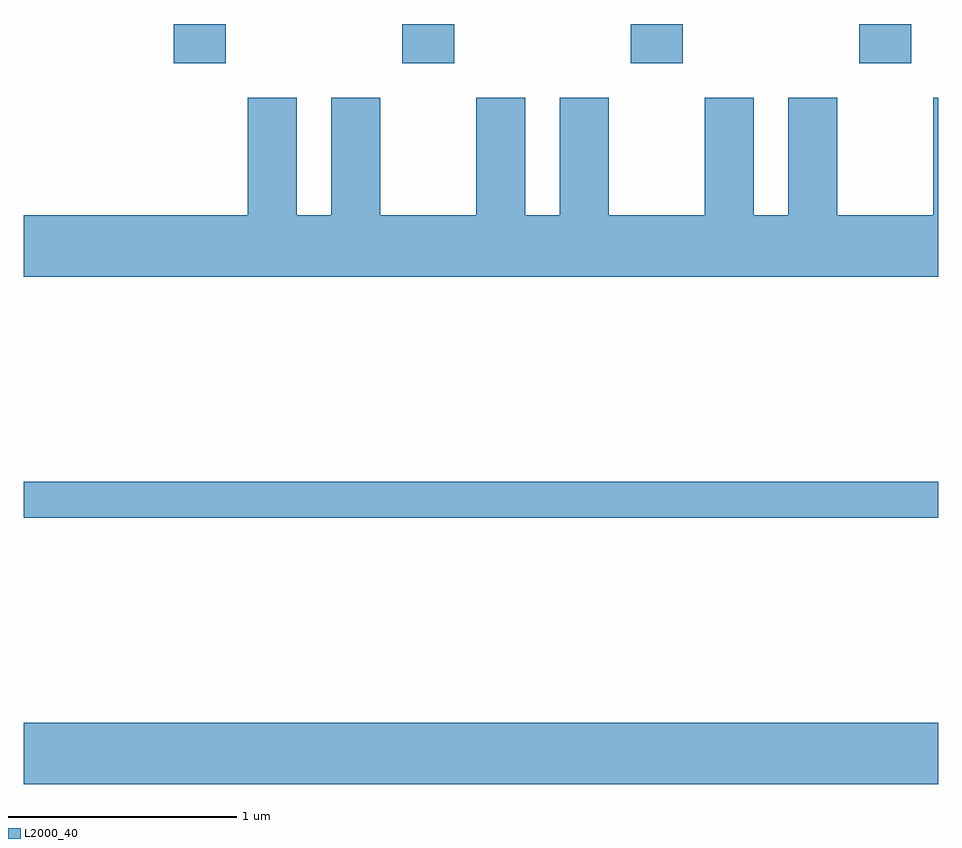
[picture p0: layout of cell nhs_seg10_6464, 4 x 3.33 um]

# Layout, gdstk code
import gdstk
lib = gdstk.Library(unit=1e-6, precision=1e-09)
def R(c, l, rs):  # rectangles x0, y0, x1, y1
    for r in rs: c.add(gdstk.rectangle(r[:2], r[2:], *l))
def A(c, l, x, y, w, h, nx, ny, dx, dy):  # array of equal rectangles
    R(c, l, [(x+i*dx, y+j*dy, x+i*dx+w, y+j*dy+h) for i in range(nx) for j in range(ny)])
def P(c, l, *ps):  # polygons
    for p in ps: c.add(gdstk.Polygon(p, *l))
L2000_40 = (2000, 40)

nhs_seg10_6464 = lib.new_cell('nhs_seg10_6464')
A(nhs_seg10_6464, L2000_40, 376.266, 2170.351, 0.228, 0.171, 4, 1, 1, 0)
R(nhs_seg10_6464, L2000_40, [(375.611,2167.196,379.611,2167.464), (375.611,2168.361,379.611,2168.519)])
P(nhs_seg10_6464, L2000_40, [(379.611,2170.199),(379.591,2170.199),(379.591,2169.684),(379.169,2169.684),(379.169,2170.199),(378.956,2170.199),(378.956,2169.684),(378.804,2169.684),(378.804,2170.199),(378.591,2170.199),(378.591,2169.684),(378.169,2169.684),(378.169,2170.199),(377.956,2170.199),(377.956,2169.684),(377.804,2169.684),(377.804,2170.199),(377.591,2170.199),(377.591,2169.684),(377.169,2169.684),(377.169,2170.199),(376.956,2170.199),(376.956,2169.684),(376.804,2169.684),(376.804,2170.199),(376.591,2170.199),(376.591,2169.684),(375.611,2169.684),(375.611,2169.416),(379.611,2169.416)])

lib.write_gds('nhs_seg10_6464.gds')
